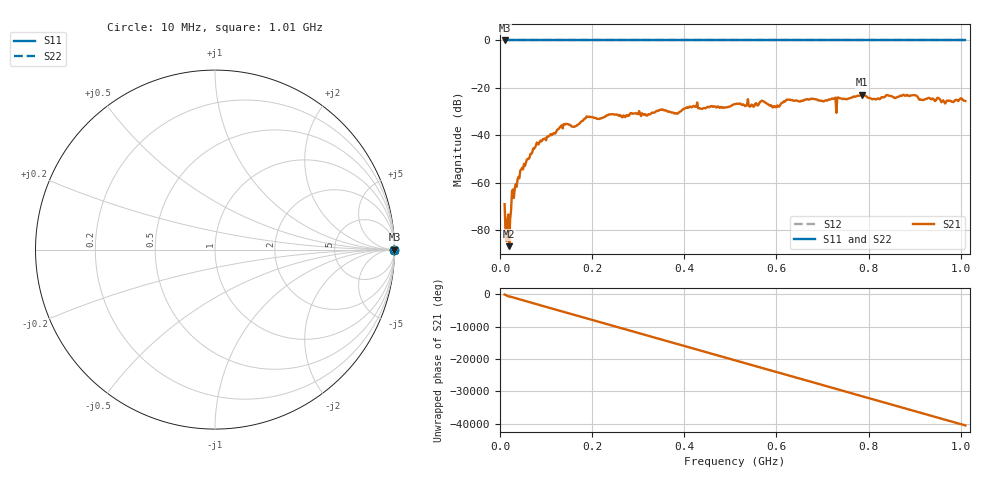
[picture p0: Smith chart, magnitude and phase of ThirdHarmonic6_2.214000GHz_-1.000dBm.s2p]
! 8/17/2025 2:22:41 AM
! C:\ANRITSUVNA\TEMP\TEMP.S2P
! CHANNEL.1
! TR.MEASUREMENT
! RAW.DATA
! RF.CORRECTION.OFF
! AVERAGING.OFF
! IF.BANDWIDTH: 5KHZ
! SWEEPTYPE:  FREQ.SWEEP(Linear)
! Reference Plane Port Info
! PORT:  PORT1  PORT2
! DISTANCE:  0  m  0  m
! TIME:  0  s  0  s
! PHASE.OFFSET:  0  deg.  0  deg.
! LOSS:  0  dB  0  dB
! REF.LOSS:  0  dB  0  dB
! REF.FREQ:  0  Hz  0  Hz
! Power Info
! POWER:  -20  dBm  -20  dBm
! EFF.POWER:  -20  dBm  -20  dBm
! SOURCE.ATTEN:  0  dB  0  dB
! TEST.ATTEN:  0  dB  0  dB
# GHZ S RI R 50.0
! FREQ.GHZ  S11RE  S11IM  S21RE  S21IM  S12RE  S12IM  S22RE  S22IM
!; PortSelection: Port_12
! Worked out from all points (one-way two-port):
!   501 points, 10 MHz to 1.01 GHz, reference 50 ohm
!   highest |S21| = -22.88 dB at 786 MHz (marker M1); lowest = -86.8 dB at 20 MHz (marker M2)
!   lowest |S11| = 0.0 dB at 10 MHz (marker M3)
!   |S11| at or under -10 dB: nowhere
!   |S22| runs from 0.0 to 0.0 dB; largest |S21 - S12| = 1.1
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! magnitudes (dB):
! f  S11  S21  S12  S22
! 10 MHz  0.0  -69.1  0.0  0.0
! 16 MHz  0.0  -75.8  0.0  0.0
! 20 MHz  0.0  -86.8  0.0  0.0
! 30 MHz  0.0  -66.5  0.0  0.0
! 48 MHz  0.0  -53.8  0.0  0.0
! 76 MHz  0.0  -45.1  0.0  0.0
! 142 MHz  0.0  -35.4  0.0  0.0
! 160 MHz  0.0  -36.5  0.0  0.0
! 178 MHz  0.0  -34.0  0.0  0.0
! 344 MHz  0.0  -29.7  0.0  0.0
! 382 MHz  0.0  -30.7  0.0  0.0
! 424 MHz  0.0  -28.0  0.0  0.0
! 510 MHz  0.0  -26.9  0.0  0.0
! 570 MHz  0.0  -25.5  0.0  0.0
! 596 MHz  0.0  -27.7  0.0  0.0
! 624 MHz  0.0  -25.0  0.0  0.0
! 678 MHz  0.0  -24.6  0.0  0.0
! 726 MHz  0.0  -24.5  0.0  0.0
! 786 MHz  0.0  -22.9  0.0  0.0
! 812 MHz  0.0  -24.6  0.0  0.0
! 844 MHz  0.0  -23.3  0.0  0.0
! 1.01 GHz  0.0  -25.5  0.0  0.0
